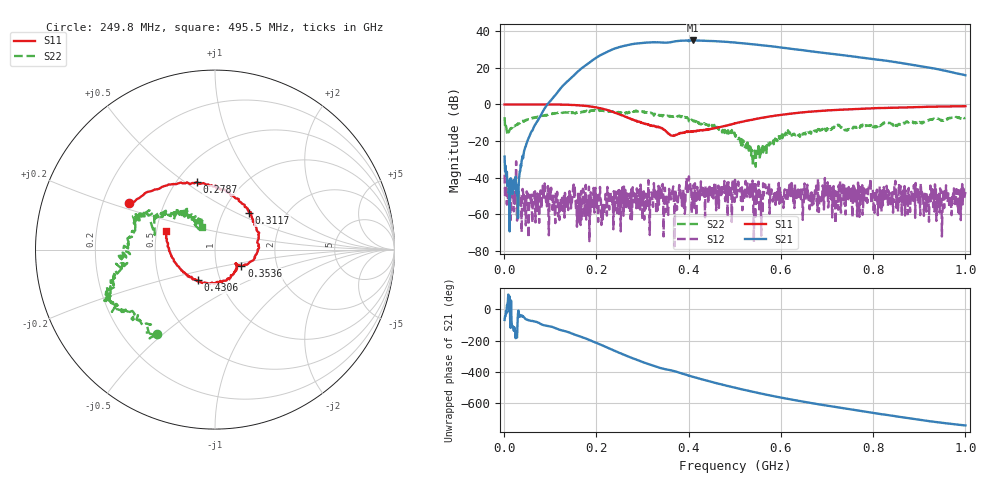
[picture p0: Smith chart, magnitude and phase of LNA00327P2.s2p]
! Created with skrf 1.9.0 (http://scikit-rf.org).
# Hz S RI R 50.0
!freq ReS11 ImS11 ReS21 ImS21 ReS12 ImS12 ReS22 ImS22
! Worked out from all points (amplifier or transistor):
!   1001 points, 1 MHz to 1 GHz, reference 50 ohm
!   highest |S21| = 34.9 dB at 408.6 MHz (marker M1)
!   |S21| within 3 dB of that: 259.8 MHz to 572.3 MHz (312.6 MHz wide, 75.1 % of centre)
!   unconditionally stable (mu >= 1): start of sweep to 74.79 MHz; 313 MHz to 395.4 MHz; 395.7 MHz to end of sweep (the widest 3 of 28)
!   at 166.8 MHz: K = 1.42, MAG = 29.5 dB, |S12| = -47.3 dB
!   at 500.5 MHz: K = 1.20, MAG = 34.7 dB, |S12| = -41.1 dB
!   at 1 GHz: K = 2.83, MAG = 24.5 dB, |S12| = -47.8 dB
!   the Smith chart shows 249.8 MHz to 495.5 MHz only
!   S11 on the Smith chart (normalised r, x): 249.8 MHz: 0.31, +0.23; 278.7 MHz: 0.63, +0.56; 311.7 MHz: 1.32, +0.59; 353.6 MHz: 1.32, -0.24; 430.6 MHz: 0.79, -0.28; 495.5 MHz: 0.56, +0.13
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1000000  0.9953 0.0121  0.0139 -0.035  -0.0102 0.00641  0.3127 0.3231
1.08892e8  0.5125 -0.8504  -0.789 -1.484  0.00201 -0.000796  0.421 -0.3776
1.67833e8  -0.2517 -0.8961  -9.632 -0.6011  -0.000214 -0.000648  0.0433 -0.6244
2.12788e8  -0.7009 -0.3165  -14.89 17.94  -0.00188 0.000234  -0.219 -0.6453
2.29771e8  -0.66 -0.017  -8.904 28.23  0.00376 -0.002  -0.2396 -0.6047
2.49751e8  -0.4771 0.257  5.154 36.34  -0.00345 0.00304  -0.3243 -0.469
2.78722e8  -0.1001 0.3762  29.91 32.58  0.000103 0.00549  -0.5743 -0.3468
3.11689e8  0.19 0.2048  47.62 9.783  -0.00135 -0.00101  -0.5808 -0.184
3.34666e8  0.2453 0.00827  48.52 -9.45  -0.00493 0.00338  -0.5075 -0.0335
3.53647e8  0.1474 -0.0899  43.9 -20.36  -0.000345 0.00193  -0.4886 0.0621
3.77623e8  0.1202 -0.1003  39.74 -36.38  -0.00044 0.00293  -0.4509 0.1701
4.08592e8  0.0203 -0.1828  18.66 -52.41  0.000413 0.00384  -0.3112 0.1983
4.3057e8  -0.0935 -0.1707  1.677 -54.87  0.00606 0.00103  -0.2301 0.2087
4.59541e8  -0.2121 -0.0873  -18.82 -49.55  0.000218 0.00127  -0.1498 0.1765
4.95505e8  -0.2737 0.1047  -36.16 -33.44  0.00902 -0.000994  -0.0697 0.1275
5.005e8  -0.2788 0.1292  -37.88 -31.05  0.00492 0.00731  -0.0597 0.1268
5.39461e8  -0.2006 0.3288  -42.5 -10.06  9.96e-05 -0.00369  -0.0173 0.0118
5.88412e8  0.0122 0.4939  -35.77 10.78  0.000662 -0.00169  -0.088 -0.0544
6.67333e8  0.3966 0.4995  -14.31 23.82  0.00168 -0.000505  -0.1768 -0.0431
7.53247e8  0.6832 0.284  3.411 20.24  -0.00354 -0.00365  -0.2286 -0.0266
8.34166e8  0.8065 0.0173  10.95 10.56  -0.00209 0.00284  -0.3035 -0.0533
1e9  0.7302 -0.523  5.844 -2.257  -0.000357 0.00407  -0.3969 0.1627
